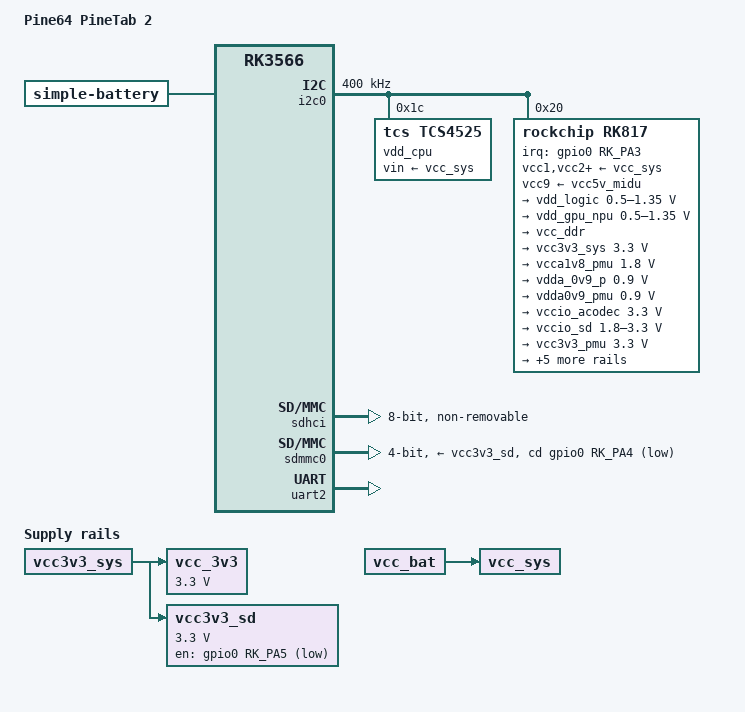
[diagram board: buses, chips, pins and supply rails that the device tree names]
// SPDX-License-Identifier: (GPL-2.0+ OR MIT)

/dts-v1/;
#include <dt-bindings/gpio/gpio.h>
#include <dt-bindings/pinctrl/rockchip.h>
#include "rk3566.dtsi"
#include "rk356x-u-boot.dtsi"

/ {
	model = "Pine64 PineTab 2";
	compatible = "rockchip,rk3566-pinetab", "rockchip,rk3566";

	aliases {
		mmc0 = &sdmmc0;
		mmc1 = &sdhci;
	};

	chosen: chosen {
		stdout-path = "serial2:1500000n8";
	};

	battery: battery {
		compatible = "simple-battery";
		charge-full-design-microamp-hours = <6000000>;
		charge-term-current-microamp = <300000>;
		constant-charge-current-max-microamp = <2000000>;
		constant-charge-voltage-max-microvolt = <4300000>;
		voltage-max-design-microvolt = <4350000>;
		voltage-min-design-microvolt = <3400000>;

		ocv-capacity-celsius = <20>;
		ocv-capacity-table-0 = <4322000 100>, <4250000 95>, <4192000 90>, <4136000 85>,
				       <4080000 80>, <4022000 75>, <3972000 70>, <3928000 65>,
				       <3885000 60>, <3833000 55>, <3798000 50>, <3780000 45>,
				       <3776000 40>, <3773000 35>, <3755000 30>, <3706000 25>,
				       <3640000 20>, <3589000 15>, <3535000 10>, <3492000 5>,
				       <3400000 0>;
	};

	vcc_bat: vcc_bat {
		compatible = "regulator-fixed";
		regulator-name = "vcc_bat";
		regulator-always-on;
		regulator-boot-on;
	};

	vcc_sys: vcc_sys {
		compatible = "regulator-fixed";
		regulator-name = "vcc_sys";
		regulator-always-on;
		regulator-boot-on;
		vin-supply = <&vcc_bat>;
	};

	vcc_3v3: vcc_3v3 {
		compatible = "regulator-fixed";
		regulator-name = "vcc_3v3";
		regulator-always-on;
		regulator-boot-on;
		regulator-min-microvolt = <3300000>;
		regulator-max-microvolt = <3300000>;
		vin-supply = <&vcc3v3_sys>;

		regulator-state-mem {
			regulator-off-in-suspend;
		};
	};

	vcc3v3_sd: vcc3v3_sd {
		compatible = "regulator-fixed";
		gpio = <&gpio0 RK_PA5 GPIO_ACTIVE_HIGH>;
		pinctrl-names = "default";
		pinctrl-0 = <&sdmmc_pwren_l>;
		regulator-name = "vcc3v3_sd";
		regulator-min-microvolt = <3300000>;
		regulator-max-microvolt = <3300000>;
		vin-supply = <&vcc3v3_sys>;

		regulator-state-mem {
			regulator-off-in-suspend;
		};
	};
};

&cpu0 {
	cpu-supply = <&vdd_cpu>;
};

&cpu1 {
	cpu-supply = <&vdd_cpu>;
};

&cpu2 {
	cpu-supply = <&vdd_cpu>;
};

&cpu3 {
	cpu-supply = <&vdd_cpu>;
};

&cru {
	assigned-clocks = <&cru PLL_GPLL>, <&pmucru PLL_PPLL>, <&cru PLL_VPLL>;
	assigned-clock-rates = <1200000000>, <200000000>, <500000000>;
};

&i2c0 {
	clock-frequency = <400000>;
	status = "okay";

	vdd_cpu: regulator@1c {
		compatible = "tcs,tcs4525";
		reg = <0x1c>;
		fcs,suspend-voltage-selector = <1>;
		regulator-name = "vdd_cpu";
		regulator-min-microvolt = <800000>;
		regulator-max-microvolt = <1150000>;
		regulator-ramp-delay = <2300>;
		regulator-always-on;
		regulator-boot-on;
		vin-supply = <&vcc_sys>;

		regulator-state-mem {
			regulator-off-in-suspend;
		};
	};

	rk817: pmic@20 {
		compatible = "rockchip,rk817";
		reg = <0x20>;
		interrupt-parent = <&gpio0>;
		interrupts = <RK_PA3 IRQ_TYPE_LEVEL_LOW>;
		assigned-clocks = <&cru I2S1_MCLKOUT_TX>;
		assigned-clock-parents = <&cru CLK_I2S1_8CH_TX>;
		clock-names = "mclk";
		clocks = <&cru I2S1_MCLKOUT_TX>;
		clock-output-names = "rk808-clkout1", "rk808-clkout2";
		#clock-cells = <1>;
		pinctrl-names = "default";
		pinctrl-0 = <&pmic_int_l>, <&i2s1m0_mclk>;
		rockchip,system-power-controller;
		#sound-dai-cells = <0>;
		wakeup-source;

		vcc1-supply = <&vcc_sys>;
		vcc2-supply = <&vcc_sys>;
		vcc3-supply = <&vcc_sys>;
		vcc4-supply = <&vcc_sys>;
		vcc5-supply = <&vcc_sys>;
		vcc6-supply = <&vcc_sys>;
		vcc7-supply = <&vcc_sys>;
		vcc8-supply = <&vcc_sys>;
		vcc9-supply = <&vcc5v_midu>;

		regulators {
			vdd_logic: DCDC_REG1 {
				regulator-always-on;
				regulator-boot-on;
				regulator-min-microvolt = <500000>;
				regulator-max-microvolt = <1350000>;
				regulator-init-microvolt = <900000>;
				regulator-ramp-delay = <6001>;
				regulator-initial-mode = <0x2>;
				regulator-name = "vdd_logic";
				regulator-state-mem {
					regulator-off-in-suspend;
				};
			};

			vdd_gpu_npu: DCDC_REG2 {
				regulator-always-on;
				regulator-boot-on;
				regulator-min-microvolt = <500000>;
				regulator-max-microvolt = <1350000>;
				regulator-init-microvolt = <900000>;
				regulator-ramp-delay = <6001>;
				regulator-initial-mode = <0x2>;
				regulator-name = "vdd_gpu_npu";
				regulator-state-mem {
					regulator-off-in-suspend;
				};
			};

			vcc_ddr: DCDC_REG3 {
				regulator-always-on;
				regulator-boot-on;
				regulator-initial-mode = <0x2>;
				regulator-name = "vcc_ddr";
				regulator-state-mem {
					regulator-on-in-suspend;
				};
			};

			vcc3v3_sys: DCDC_REG4 {
				regulator-always-on;
				regulator-boot-on;
				regulator-min-microvolt = <3300000>;
				regulator-max-microvolt = <3300000>;
				regulator-initial-mode = <0x2>;
				regulator-name = "vcc3v3_sys";
				regulator-state-mem {
					regulator-off-in-suspend;
				};
			};

			vcca1v8_pmu: LDO_REG1 {
				regulator-always-on;
				regulator-boot-on;
				regulator-min-microvolt = <1800000>;
				regulator-max-microvolt = <1800000>;
				regulator-name = "vcca1v8_pmu";
				regulator-state-mem {
					regulator-on-in-suspend;
				};
			};

			vdda_0v9_p: LDO_REG2 {
				regulator-always-on;
				regulator-boot-on;
				regulator-min-microvolt = <900000>;
				regulator-max-microvolt = <900000>;
				regulator-name = "vdda_0v9_p";
				regulator-state-mem {
					regulator-off-in-suspend;
				};
			};

			vdda0v9_pmu: LDO_REG3 {
				regulator-always-on;
				regulator-boot-on;
				regulator-min-microvolt = <900000>;
				regulator-max-microvolt = <900000>;
				regulator-name = "vdda0v9_pmu";
				regulator-state-mem {
					regulator-on-in-suspend;
				};
			};

			vccio_acodec: LDO_REG4 {
				regulator-always-on;
				regulator-boot-on;
				regulator-min-microvolt = <3300000>;
				regulator-max-microvolt = <3300000>;
				regulator-name = "vccio_acodec";
				regulator-state-mem {
					regulator-off-in-suspend;
				};
			};

			vccio_sd: LDO_REG5 {
				regulator-always-on;
				regulator-boot-on;
				regulator-min-microvolt = <1800000>;
				regulator-max-microvolt = <3300000>;
				regulator-name = "vccio_sd";
				regulator-state-mem {
					regulator-off-in-suspend;
				};
			};

			vcc3v3_pmu: LDO_REG6 {
				regulator-always-on;
				regulator-boot-on;
				regulator-min-microvolt = <3300000>;
				regulator-max-microvolt = <3300000>;
				regulator-name = "vcc3v3_pmu";
				regulator-state-mem {
					regulator-on-in-suspend;
				};
			};

			vcc_1v8: LDO_REG7 {
				regulator-always-on;
				regulator-boot-on;
				regulator-min-microvolt = <1800000>;
				regulator-max-microvolt = <1800000>;
				regulator-name = "vcc_1v8";
				regulator-state-mem {
					regulator-off-in-suspend;
				};
			};

			vcc1v8_dvp: LDO_REG8 {
				regulator-always-on;
				regulator-boot-on;
				regulator-min-microvolt = <1800000>;
				regulator-max-microvolt = <1800000>;
				regulator-name = "vcc1v8_dvp";
				regulator-state-mem {
					regulator-off-in-suspend;
				};
			};

			vcc2v8_dvp: LDO_REG9 {
				regulator-always-on;
				regulator-boot-on;
				regulator-min-microvolt = <2800000>;
				regulator-max-microvolt = <2800000>;
				regulator-name = "vcc2v8_dvp";
				regulator-state-mem {
					regulator-off-in-suspend;
				};
			};

			vcc5v_midu: BOOST {
				regulator-always-on;
				regulator-boot-on;
				regulator-min-microvolt = <5000000>;
				regulator-max-microvolt = <5000000>;
				regulator-name = "boost";
				regulator-state-mem {
					regulator-off-in-suspend;
				};
			};

			vbus: OTG_SWITCH {
				regulator-min-microvolt = <5000000>;
				regulator-max-microvolt = <5000000>;
				regulator-name = "otg_switch";
				regulator-state-mem {
					regulator-off-in-suspend;
				};
			};
		};

		charger {
			monitored-battery = <&battery>;
			rockchip,resistor-sense-micro-ohms = <10000>;
			rockchip,sleep-enter-current-microamp = <300000>;
			rockchip,sleep-filter-current-microamp = <100000>;
		};
	};
};

&pinctrl {
	display {
		lcd_pwren_h: lcd-pwren-h {
			rockchip,pins = <0 RK_PC7 RK_FUNC_GPIO &pcfg_pull_none>;
		};

		lcd0_rst_l: lcd0-rst-l {
			rockchip,pins = <0 RK_PC6 RK_FUNC_GPIO &pcfg_pull_none>;
		};
	};

	pcie {
		pcie_pwren_h: pcie-pwren-h {
			rockchip,pins = <4 RK_PC3 RK_FUNC_GPIO &pcfg_pull_none>;
		};

		pcie_reset_h: pcie-reset-h {
			rockchip,pins = <1 RK_PB2 RK_FUNC_GPIO &pcfg_pull_none>;
		};
	};

	pmic {
		pmic_int_l: pmic-int-l {
			rockchip,pins = <0 RK_PA3 RK_FUNC_GPIO &pcfg_pull_up>;
		};
	};

	sd {
		sdmmc_pwren_l: sdmmc-pwren-l {
			rockchip,pins = <0 RK_PA5 RK_FUNC_GPIO &pcfg_pull_none>;
		};
	};

	usb {
		usbcc_int_l: usbcc-int-l {
			rockchip,pins = <0 RK_PC5 RK_FUNC_GPIO &pcfg_pull_none>;
		};

		usb_host_pwren1_h: usb-host-pwren1-h {
			rockchip,pins = <4 RK_PC4 RK_FUNC_GPIO &pcfg_pull_none>;
		};

		usb_host_pwren2_h: usb-host-pwren2-h {
			rockchip,pins = <4 RK_PC5 RK_FUNC_GPIO &pcfg_pull_none>;
		};
	};
};

&pmu_io_domains {
	pmuio1-supply = <&vcc3v3_pmu>;
	pmuio2-supply = <&vcca1v8_pmu>;
	vccio1-supply = <&vccio_acodec>;
	vccio2-supply = <&vcc_1v8>;
	vccio3-supply = <&vccio_sd>;
	vccio4-supply = <&vcc_1v8>;
	vccio5-supply = <&vcc_1v8>;
	vccio6-supply = <&vcc1v8_dvp>;
	vccio7-supply = <&vcc_3v3>;
	status = "okay";
};


&sdhci {
	bus-width = <8>;
	max-frequency = <200000000>;
	non-removable;
	pinctrl-names = "default";
	pinctrl-0 = <&emmc_bus8 &emmc_clk &emmc_cmd &emmc_datastrobe>;
	status = "okay";
};

&sdmmc0 {
	bus-width = <4>;
	cap-sd-highspeed;
	cd-gpios = <&gpio0 RK_PA4 GPIO_ACTIVE_LOW>;
	disable-wp;
	rockchip,disable-pwren-quirk;
	pinctrl-names = "default";
	pinctrl-0 = <&sdmmc0_bus4 &sdmmc0_clk &sdmmc0_cmd &sdmmc0_det>;
	sd-uhs-sdr104;
	vmmc-supply = <&vcc3v3_sd>;
	vqmmc-supply = <&vccio_sd>;
	status = "okay";
};

&uart2 {
	clock-frequency = <24000000>;
	bootph-pre-ram;
	status = "okay";
};
